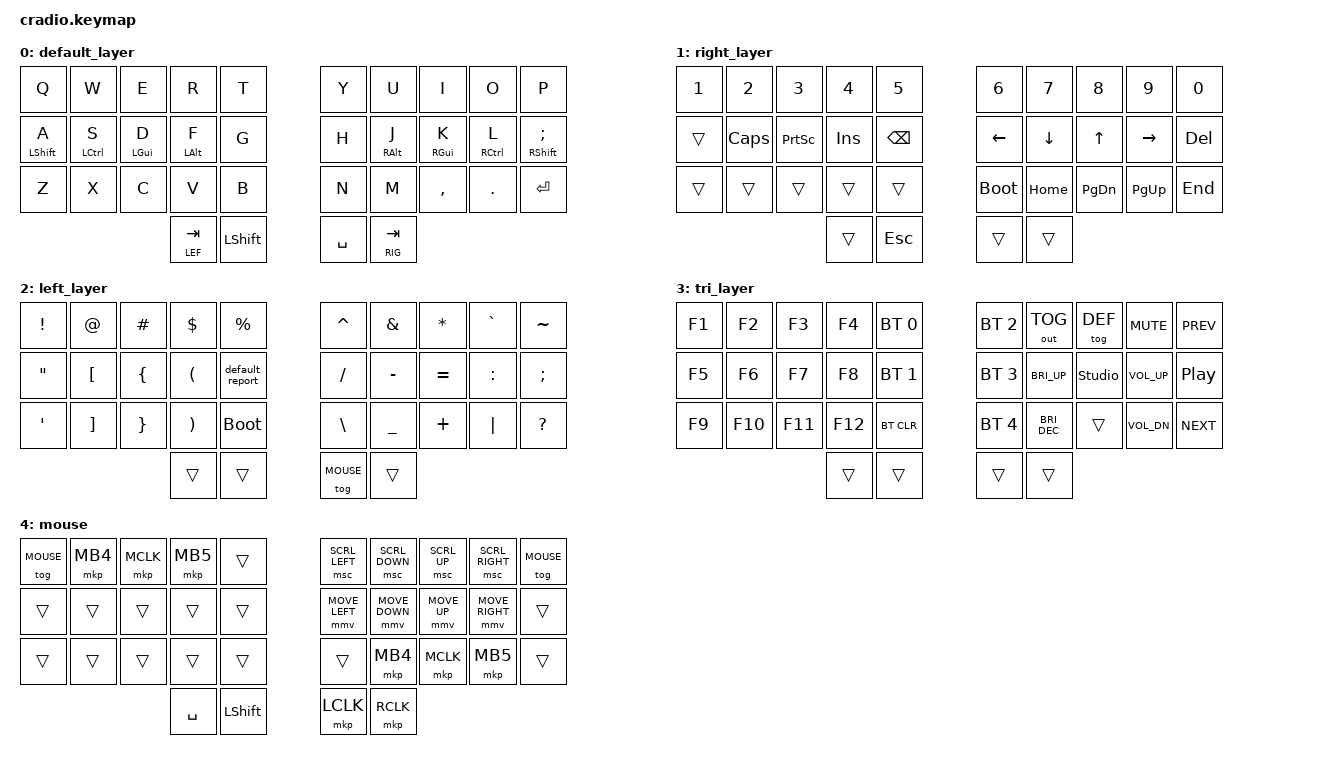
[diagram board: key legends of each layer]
// Copyright (c) 2022 The ZMK Contributors
// SPDX-License-Identifier: MIT

#define ZMK_MOUSE_DEFAULT_MOVE_VAL 2500  // 600
#define ZMK_MOUSE_DEFAULT_SCRL_VAL 20    // 10

#include <dt-bindings/zmk/mouse.h>
#include <behaviors.dtsi>
#include <dt-bindings/zmk/bt.h>
#include <dt-bindings/zmk/keys.h>
#include <dt-bindings/zmk/outputs.h>

#define DEF 0
#define RIG 1
#define LEF 2
#define TRI 3
#define MOUSE 4

/ {
    chosen { zmk,charmap = &charmap_us; };

    behaviors {
        ht: hold_tap {
            label = "hold_tap";
            compatible = "zmk,behavior-hold-tap";
            #binding-cells = <2>;
            flavor = "tap-preferred";
            tapping-term-ms = <220>;
            quick-tap-ms = <150>;
            global-quick-tap;
            bindings = <&kp>, <&kp>;
        };

        mmv {
            acceleration-exponent = <1>;      // 1
            time-to-max-speed-ms = <300>;    // 40
            delay-ms = <0>;                   // 0
        };

        msc {
            acceleration-exponent = <0>;      // 0
            time-to-max-speed-ms = <40>;      // 500
            delay-ms = <0>;                   // 10
        };
    };

    conditional_layers {
        compatible = "zmk,conditional-layers";

        tri_layer {
            if-layers = <RIG LEF>;
            then-layer = <TRI>;
        };
    };

    keymap {
        compatible = "zmk,keymap";

        default_layer {
            bindings = <
&kp Q         &kp W        &kp E       &kp R       &kp T         &kp Y      &kp U       &kp I       &kp O        &kp P
&ht LSHIFT A  &ht LCTRL S  &ht LGUI D  &ht LALT F  &kp G         &kp H      &ht RALT J  &ht RGUI K  &ht RCTRL L  &ht RSHIFT SEMICOLON
&kp Z         &kp X        &kp C       &kp V       &kp B         &kp N      &kp M       &kp COMMA   &kp DOT      &kp ENTER
                                       &lt LEF TAB &kp LSHIFT    &kp SPACE  &lt RIG TAB
            >;
        };

        right_layer {
            bindings = <
&kp N1   &kp N2    &kp N3     &kp N4   &kp N5     &kp N6      &kp N7    &kp N8     &kp N9     &kp N0
&trans   &kp CAPS  &kp PSCRN  &kp INS  &kp BSPC   &kp LEFT    &kp DOWN  &kp UP     &kp RIGHT  &kp DEL
&trans   &trans    &trans     &trans   &trans     &bootloader &kp HOME  &kp PG_DN  &kp PG_UP  &kp END
                              &trans   &kp ESC    &trans      &trans
            >;
        };

        left_layer {
            bindings = <
&kp EXCL  &kp AT    &kp HASH  &kp DLLR  &kp PRCNT          &kp CARET  &kp AMPS   &kp ASTRK  &kp GRAVE  &kp TILDE
&kp DQT   &kp LBKT  &kp LBRC  &kp LPAR  &default_report    &kp FSLH   &kp MINUS  &kp EQUAL  &kp COLON  &kp SEMI
&kp SQT   &kp RBKT  &kp RBRC  &kp RPAR  &bootloader        &kp BSLH   &kp UNDER  &kp PLUS   &kp PIPE   &kp QMARK
                              &trans    &trans             &tog MOUSE     &trans
            >;
        };

        tri_layer {
            bindings = <
&kp F1  &kp F2   &kp F3   &kp F4   &bt BT_SEL 0    &bt BT_SEL 2  &out OUT_TOG   &tog DEF        &kp C_MUTE    &kp C_PREV
&kp F5  &kp F6   &kp F7   &kp F8   &bt BT_SEL 1    &bt BT_SEL 3  &kp C_BRI_UP   &studio_unlock  &kp C_VOL_UP  &kp C_PP
&kp F9  &kp F10  &kp F11  &kp F12  &bt BT_CLR      &bt BT_SEL 4  &kp C_BRI_DEC  &trans          &kp C_VOL_DN  &kp C_NEXT
                          &trans   &trans          &trans        &trans
            >;
        };

        mouse {
            bindings = <
&tog MOUSE &mkp MB4  &mkp MCLK  &mkp MB5   &trans     &msc SCRL_LEFT  &msc SCRL_DOWN  &msc SCRL_UP  &msc SCRL_RIGHT  &tog MOUSE
&trans     &trans    &trans     &trans     &trans     &mmv MOVE_LEFT  &mmv MOVE_DOWN  &mmv MOVE_UP  &mmv MOVE_RIGHT  &trans
&trans     &trans    &trans     &trans     &trans     &trans          &mkp MB4        &mkp MCLK     &mkp MB5         &trans
                             &kp SPACE  &kp LSHIFT    &mkp LCLK       &mkp RCLK
            >;
        };
    };
};
